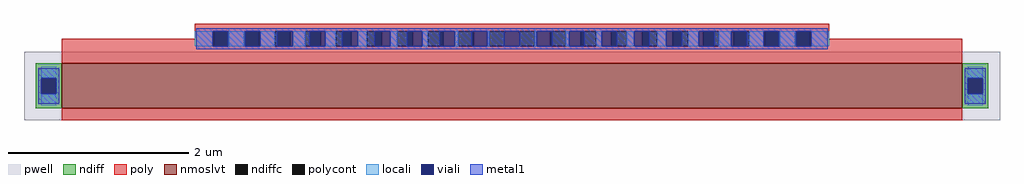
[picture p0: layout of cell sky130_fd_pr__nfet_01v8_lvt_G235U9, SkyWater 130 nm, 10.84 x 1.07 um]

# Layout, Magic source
magic
tech sky130A
magscale 1 2
<< pwell >>
rect -1084 -107 1084 45
<< nmoslvt >>
rect -1000 -81 1000 19
<< ndiff >>
rect -1058 -14 -1000 19
rect -1058 -48 -1046 -14
rect -1012 -48 -1000 -14
rect -1058 -81 -1000 -48
rect 1000 -14 1058 19
rect 1000 -48 1012 -14
rect 1046 -48 1058 -14
rect 1000 -81 1058 -48
<< ndiffc >>
rect -1046 -48 -1012 -14
rect 1012 -48 1046 -14
<< poly >>
rect -705 91 705 107
rect -705 74 -663 91
rect -1000 57 -663 74
rect -629 57 -595 91
rect -561 57 -527 91
rect -493 57 -459 91
rect -425 57 -391 91
rect -357 57 -323 91
rect -289 57 -255 91
rect -221 57 -187 91
rect -153 57 -119 91
rect -85 57 -51 91
rect -17 57 17 91
rect 51 57 85 91
rect 119 57 153 91
rect 187 57 221 91
rect 255 57 289 91
rect 323 57 357 91
rect 391 57 425 91
rect 459 57 493 91
rect 527 57 561 91
rect 595 57 629 91
rect 663 74 705 91
rect 663 57 1000 74
rect -1000 19 1000 57
rect -1000 -107 1000 -81
<< polycont >>
rect -663 57 -629 91
rect -595 57 -561 91
rect -527 57 -493 91
rect -459 57 -425 91
rect -391 57 -357 91
rect -323 57 -289 91
rect -255 57 -221 91
rect -187 57 -153 91
rect -119 57 -85 91
rect -51 57 -17 91
rect 17 57 51 91
rect 85 57 119 91
rect 153 57 187 91
rect 221 57 255 91
rect 289 57 323 91
rect 357 57 391 91
rect 425 57 459 91
rect 493 57 527 91
rect 561 57 595 91
rect 629 57 663 91
<< locali >>
rect -705 57 -665 91
rect -629 57 -595 91
rect -559 57 -527 91
rect -487 57 -459 91
rect -415 57 -391 91
rect -343 57 -323 91
rect -271 57 -255 91
rect -199 57 -187 91
rect -127 57 -119 91
rect -55 57 -51 91
rect 51 57 55 91
rect 119 57 127 91
rect 187 57 199 91
rect 255 57 271 91
rect 323 57 343 91
rect 391 57 415 91
rect 459 57 487 91
rect 527 57 559 91
rect 595 57 629 91
rect 665 57 705 91
rect -1046 -14 -1012 12
rect -1046 -74 -1012 -48
rect 1012 -14 1046 12
rect 1012 -74 1046 -48
<< viali >>
rect -665 57 -663 91
rect -663 57 -631 91
rect -593 57 -561 91
rect -561 57 -559 91
rect -521 57 -493 91
rect -493 57 -487 91
rect -449 57 -425 91
rect -425 57 -415 91
rect -377 57 -357 91
rect -357 57 -343 91
rect -305 57 -289 91
rect -289 57 -271 91
rect -233 57 -221 91
rect -221 57 -199 91
rect -161 57 -153 91
rect -153 57 -127 91
rect -89 57 -85 91
rect -85 57 -55 91
rect -17 57 17 91
rect 55 57 85 91
rect 85 57 89 91
rect 127 57 153 91
rect 153 57 161 91
rect 199 57 221 91
rect 221 57 233 91
rect 271 57 289 91
rect 289 57 305 91
rect 343 57 357 91
rect 357 57 377 91
rect 415 57 425 91
rect 425 57 449 91
rect 487 57 493 91
rect 493 57 521 91
rect 559 57 561 91
rect 561 57 593 91
rect 631 57 663 91
rect 663 57 665 91
rect -1046 -48 -1012 -14
rect 1012 -48 1046 -14
<< metal1 >>
rect -701 91 701 97
rect -701 57 -665 91
rect -631 57 -593 91
rect -559 57 -521 91
rect -487 57 -449 91
rect -415 57 -377 91
rect -343 57 -305 91
rect -271 57 -233 91
rect -199 57 -161 91
rect -127 57 -89 91
rect -55 57 -17 91
rect 17 57 55 91
rect 89 57 127 91
rect 161 57 199 91
rect 233 57 271 91
rect 305 57 343 91
rect 377 57 415 91
rect 449 57 487 91
rect 521 57 559 91
rect 593 57 631 91
rect 665 57 701 91
rect -701 51 701 57
rect -1052 -14 -1006 8
rect -1052 -48 -1046 -14
rect -1012 -48 -1006 -14
rect -1052 -70 -1006 -48
rect 1006 -14 1052 8
rect 1006 -48 1012 -14
rect 1046 -48 1052 -14
rect 1006 -70 1052 -48
<< end >>
